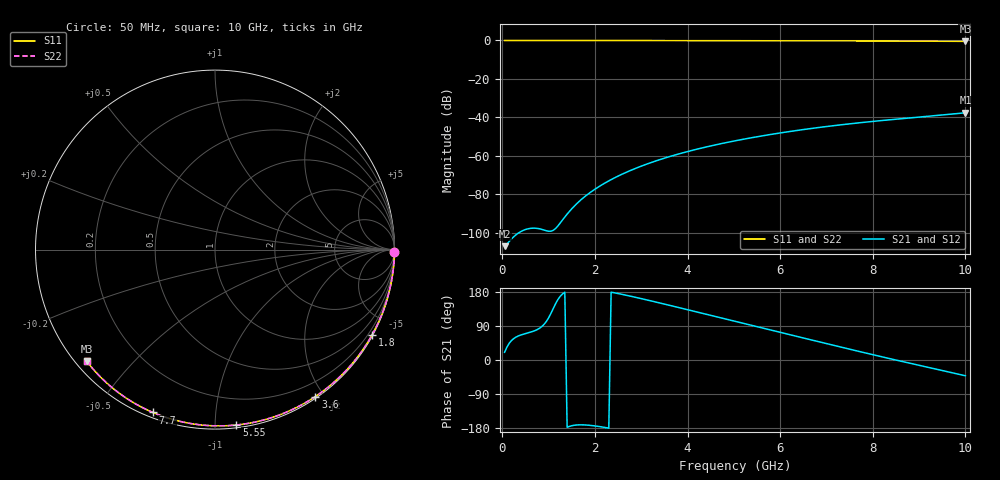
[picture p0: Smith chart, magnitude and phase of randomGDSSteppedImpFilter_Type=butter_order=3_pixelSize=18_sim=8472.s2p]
! freq	dB(S11)	phase(S11)	dB(S12)	phase(S12)
!  dB(S21)	phase(S21)	dB(S22)	phase(S22)
!S-par simulation data
#  GHz  S  DB  R 50
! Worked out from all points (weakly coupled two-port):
!   200 points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, 50 MHz to 10 GHz, reference 50 ohm
!   highest |S21| = -37.65 dB at 10 GHz (marker M1); lowest = -107.1 dB at 50 MHz (marker M2)
!   lowest |S11| = -0.5 dB at 10 GHz (marker M3), VSWR 37.13, Z = 1.53 - j18.7 ohm
!   |S11| at or under -10 dB: nowhere
!   |S22| runs from -0.5 to 0.0 dB; largest |S21 - S12| = 0
!   S11 on the Smith chart (normalised r, x): 50 MHz: open; 1.8 GHz: 0.03, -3.94; 3.6 GHz: 0.02, -1.89; 5.55 GHz: 0.02, -1.13; 7.7 GHz: 0.02, -0.69; 10 GHz: 0.03, -0.37
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0.05  -0.00 -0.8  -107.12 20.4  -107.12 20.4  -0.00 -0.8
0.45  -0.01 -7.2  -98.92 67.9  -98.92 67.9  -0.01 -7.2
0.9  -0.02 -14.4  -98.71 93.8  -98.71 93.8  -0.02 -14.4
1.75  -0.04 -27.7  -81.93 -171.2  -81.93 -171.2  -0.04 -27.7
1.8  -0.04 -28.5  -80.95 -171.5  -80.95 -171.5  -0.04 -28.5
1.85  -0.04 -29.3  -80.03 -171.9  -80.03 -171.9  -0.04 -29.3
2.15  -0.04 -33.9  -75.17 -176.6  -75.17 -176.6  -0.04 -33.9
2.35  -0.05 -37.0  -72.45 179.0  -72.45 179.0  -0.05 -37.0
2.55  -0.05 -40.0  -70.04 174.1  -70.04 174.1  -0.05 -40.0
2.95  -0.06 -46.1  -65.91 163.4  -65.91 163.4  -0.06 -46.1
3.4  -0.07 -52.7  -62.06 150.5  -62.06 150.5  -0.07 -52.7
3.6  -0.07 -55.7  -60.56 144.6  -60.56 144.6  -0.07 -55.7
3.9  -0.08 -60.0  -58.49 135.7  -58.49 135.7  -0.08 -60.0
4.3  -0.09 -65.8  -56.04 123.8  -56.04 123.8  -0.09 -65.8
5.05  -0.12 -76.3  -52.15 101.4  -52.15 101.4  -0.12 -76.3
5.55  -0.14 -83.1  -49.94 86.5  -49.94 86.5  -0.14 -83.1
6.1  -0.16 -90.4  -47.79 70.1  -47.79 70.1  -0.16 -90.4
6.7  -0.19 -98.2  -45.74 52.2  -45.74 52.2  -0.19 -98.2
7.7  -0.25 -110.9  -42.90 22.7  -42.90 22.7  -0.25 -110.9
8.35  -0.30 -118.9  -41.34 4.1  -41.34 4.1  -0.30 -118.9
9.2  -0.38 -129.3  -39.47 -19.5  -39.47 -19.5  -0.38 -129.3
10  -0.47 -139.0  -37.65 -41.6  -37.65 -41.6  -0.47 -139.0
